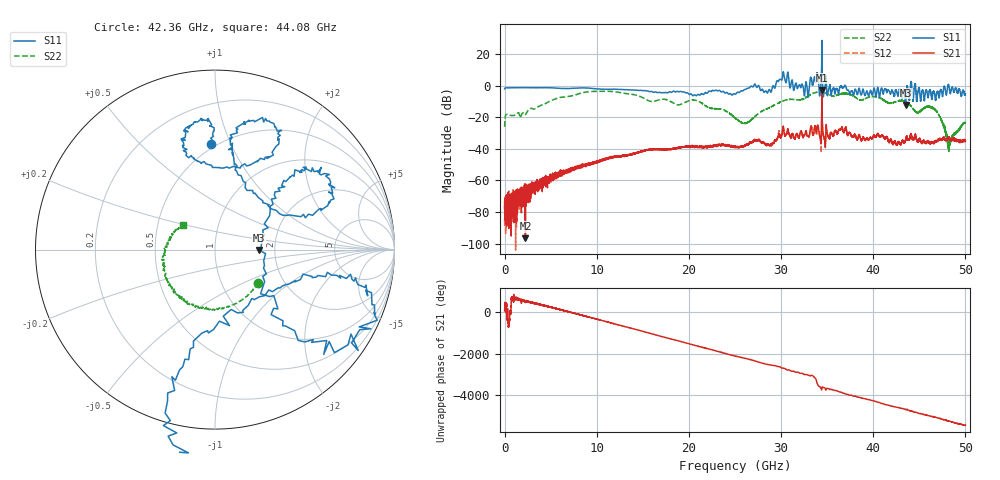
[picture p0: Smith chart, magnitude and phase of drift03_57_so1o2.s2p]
!Created with skrf (http://scikit-rf.org).
# Hz S RI R 50.0
!freq ReS11 ImS11 ReS21 ImS21 ReS12 ImS12 ReS22 ImS22
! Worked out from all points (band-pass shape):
!   10000 points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, 5.3 MHz to 50 GHz, reference 50 ohm
!   highest |S21| = -2.80 dB at 34.43 GHz (marker M1); lowest = -96.6 dB at 2.26 GHz (marker M2)
!   |S21| within 3 dB of the highest: 34.42753 GHz to 34.43459 GHz (7.057 MHz wide, 0.0205 % of centre)
!   lowest |S11| = -12.2 dB at 43.52 GHz (marker M3), VSWR 1.65, Z = 82.4 - j0.407 ohm
!   |S11| at or under -10 dB: 43.48424 GHz to 43.48808 GHz (3.84 MHz wide, 0.00883 % of centre); 43.49062 GHz to 43.545 GHz (54.38 MHz wide, 0.125 % of centre); 43.54513 GHz to 43.55241 GHz (7.279 MHz wide, 0.0167 % of centre) (the widest 3 of 5)
!   |S22| runs from -41.6 to -3.6 dB; largest |S21 - S12| = 0.23
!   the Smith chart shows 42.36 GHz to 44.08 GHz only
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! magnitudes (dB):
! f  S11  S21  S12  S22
! 5.3 MHz  -2.1  -76.6  -84.9  -26.0
! 320.3 MHz  -1.4  -77.7  -77.4  -18.2
! 2.26 GHz  -1.3  -96.6  -66.7  -18.5
! 8.34 GHz  -1.5  -51.3  -51.2  -4.7
! 16.67 GHz  -4.4  -40.4  -40.1  -9.2
! 20.75 GHz  -6.3  -38.4  -39.0  -9.3
! 25.01 GHz  -5.5  -38.8  -38.7  -20.5
! 26.22 GHz  -2.2  -37.3  -37.7  -23.6
! 27.37 GHz  -1.1  -35.1  -34.9  -18.5
! 28.72 GHz  -2.5  -37.4  -37.5  -14.0
! 30.14 GHz  4.4  -29.2  -29.8  -9.9
! 32.74 GHz  2.0  -29.5  -29.1  -7.3
! 33.34 GHz  2.6  -27.5  -27.7  -5.2
! 33.82 GHz  4.0  -29.0  -29.5  -4.3
! 34.43 GHz  28.5  -2.8  -4.9  -3.9
! 36.48 GHz  -0.5  -27.9  -27.9  -5.4
! 41.67 GHz  -2.9  -35.6  -35.5  -10.7
! 43.52 GHz  -12.2  -34.5  -34.2  -10.3
! 44.77 GHz  -7.5  -34.9  -35.0  -16.9
! 46.67 GHz  -5.4  -35.6  -35.5  -14.7
! 48.24 GHz  -1.0  -34.0  -33.2  -41.2
! 50 GHz  -5.3  -34.7  -34.9  -23.3
